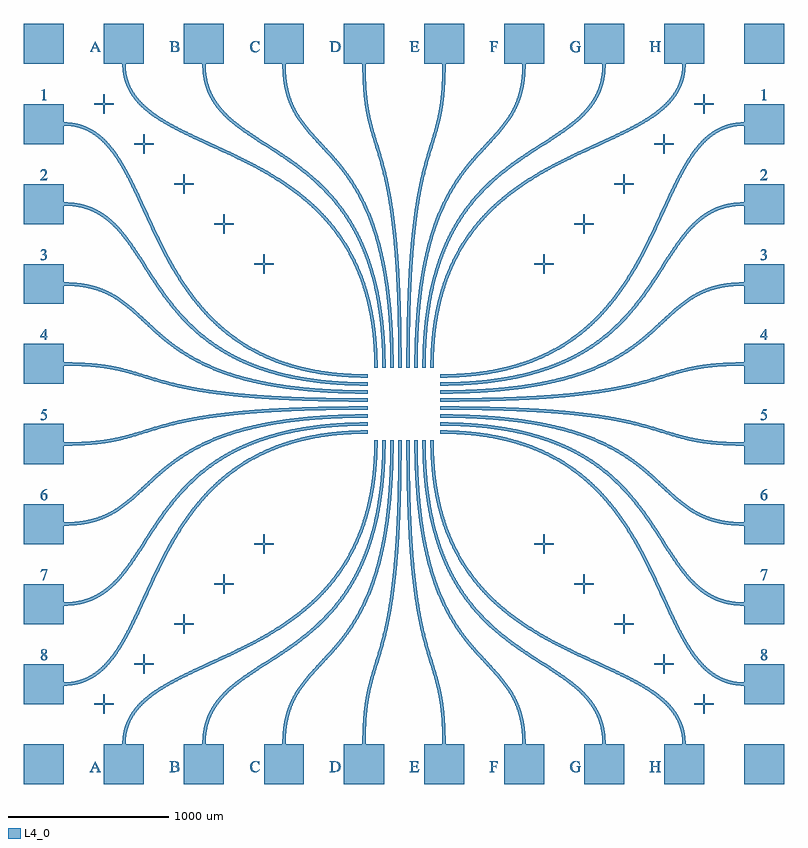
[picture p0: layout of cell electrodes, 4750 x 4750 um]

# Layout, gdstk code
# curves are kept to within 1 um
from math import pi, radians
import gdstk
lib = gdstk.Library(unit=1e-6, precision=1e-09)
def R(c, l, rs):  # rectangles x0, y0, x1, y1
    for r in rs: c.add(gdstk.rectangle(r[:2], r[2:], *l))
def P(c, l, *ps):  # polygons
    for p in ps: c.add(gdstk.Polygon(p, *l))
L4_0 = (4, 0)

bondpad250um = lib.new_cell('bondPad250um')
R(bondpad250um, L4_0, [(0,0,250,250)])

electrodesegment = lib.new_cell('electrodeSegment')
P(electrodesegment, L4_0, [(615,250),(617.627,295.421),(625.345,337.976),(637.905,377.865),(655.062,415.288),(678.55,453.278),(706.554,488.551),(741.519,524.09),(781.169,557.529),(815.357,582.546),(855.458,608.783),(946.262,660.245),(1042.104,707.835),(1269.985,813.237),(1370.982,862.013),(1481.046,919.876),(1571.614,973.075),(1620.655,1004.703),(1668.911,1038.219),(1711.941,1070.463),(1754.026,1104.525),(1795.027,1140.527),(1830.884,1174.688),(1869.436,1214.712),(1902.862,1252.692),(1934.976,1292.619),(1965.677,1334.583),(1994.862,1378.674),(2022.429,1424.98),(2048.275,1473.59),(2069.721,1518.805),(2092.037,1572.012),(2110.184,1621.454),(2128.604,1679.574),(2144.815,1740.425),(2158.712,1804.096),(2170.195,1870.676),(2179.161,1940.253),(2184.934,2004.689),(2188.865,2080.173),(2190,2150),(2210,2150),(2208.852,2079.474),(2205.457,2011.525),(2199.888,1946.09),(2192.215,1883.107),(2182.512,1822.514),(2169.26,1757.126),(2155.482,1701.405),(2137.829,1641.342),(2117.995,1583.968),(2096.082,1529.198),(2072.195,1476.941),(2046.434,1427.109),(2018.905,1379.615),(1986.366,1329.477),(1955.439,1286.626),(1919.38,1241.429),(1885.513,1202.827),(1846.443,1162.132),(1810.095,1127.385),(1768.523,1090.755),(1725.839,1056.088),(1682.185,1023.263),(1633.212,989.138),(1583.422,956.934),(1491.418,902.776),(1380.214,844.271),(1279.427,795.607),(1052.038,690.477),(956.42,643.017),(869.492,593.946),(833.515,570.748),(799.912,546.717),(763.515,517.02),(733.359,488.141),(706.757,457.636),(684.143,425.599),(662.854,385.768),(647.315,342.839),(637.91,296.461),(635,250)],
  [(1115,250),(1116.859,295.034),(1122.318,337.219),(1131.202,376.762),(1144.488,416.857),(1161.364,454.356),(1181.607,489.523),(1204.995,522.619),(1233.441,556.248),(1284.317,605.65),(1351.73,659.339),(1420.223,706.957),(1583.07,812.418),(1655.244,861.218),(1733.831,919.064),(1798.477,972.25),(1867.931,1037.402),(1928.695,1103.736),(1983.567,1173.94),(2034.959,1251.998),(2079.81,1333.953),(2120.334,1424.423),(2154.104,1518.325),(2181.443,1614.76),(2194.769,1672.629),(2206.524,1733.22),(2216.636,1796.623),(2225.032,1862.925),(2231.638,1932.217),(2236.382,2004.587),(2240,2150),(2260,2150),(2256.755,2011.621),(2247.295,1883.296),(2230.895,1757.411),(2208.44,1641.717),(2194.269,1584.39),(2178.614,1529.663),(2161.546,1477.449),(2143.141,1427.658),(2123.471,1380.202),(2100.222,1330.103),(2078.123,1287.286),(2052.357,1242.122),(2000.237,1162.88),(1944.555,1091.544),(1882.851,1024.079),(1812.264,957.759),(1746.5,903.588),(1667.039,845.066),(1595.081,796.426),(1432.736,691.355),(1364.471,643.923),(1302.441,594.904),(1253.024,547.971),(1229.045,520.777),(1207.386,492.184),(1188.22,461.978),(1172.988,432.689),(1156.064,389.977),(1144.544,346.891),(1137.432,300.345),(1135,250)],
  [(1615,250),(1616.112,294.794),(1619.377,336.746),(1624.692,376.064),(1632.64,415.929),(1641.887,450.433),(1653.849,485.575),(1668.845,521.116),(1685.869,554.591),(1716.321,603.82),(1756.772,657.511),(1801.452,709.101),(1938.963,859.496),(1982.229,912.331),(2021.093,965.047),(2062.906,1029.594),(2099.542,1095.295),(2134.37,1168.692),(2163.77,1242.135),(2189.515,1318.589),(2212.996,1402.541),(2232.761,1488.941),(2250.01,1583.015),(2267.658,1712.158),(2279.985,1847.561),(2287.568,1996.206),(2290,2150),(2310,2150),(2308.054,2011.786),(2301.909,1875.934),(2291.852,1750.829),(2278.183,1635.874),(2260.099,1524.556),(2238.65,1423.237),(2212.746,1326.353),(2182.306,1234.635),(2152.52,1160.3),(2117.213,1085.934),(2080.045,1019.291),(2037.589,953.74),(1998.087,900.144),(1954.407,846.789),(1817.441,697.086),(1776.232,649.742),(1738.636,600.87),(1708.549,554.078),(1691.591,522.328),(1676.531,488.642),(1663.535,452.685),(1652.767,414.12),(1644.908,375.681),(1639.598,337.712),(1636.078,293.634),(1635,250)],
  [(2115,250),(2116.44,335.841),(2121.032,417.028),(2128.434,488.021),(2139.14,555.529),(2149.262,603.761),(2162.846,657.229),(2222.569,855.728),(2248.762,956.181),(2273.898,1078.725),(2294.59,1214.485),(2304.936,1302.518),(2314.255,1400.792),(2328.561,1619.22),(2337.162,1869.563),(2340,2150),(2360,2150),(2357.149,1868.85),(2348.505,1617.749),(2334.124,1398.521),(2324.752,1299.826),(2314.345,1211.375),(2293.521,1074.865),(2268.205,951.497),(2241.888,850.556),(2182.587,654.035),(2169.084,601.111),(2158.173,548.815),(2147.711,481.318),(2140.549,410.164),(2136.434,335.338),(2135,250)],
  [(495,440),(495,495),(440,495),(440,505),(495,505),(495,560),(505,560),(505,505),(560,505),(560,495),(505,495),(505,440)],
  [(745,690),(745,745),(690,745),(690,755),(745,755),(745,810),(755,810),(755,755),(810,755),(810,745),(755,745),(755,690)],
  [(995,940),(995,995),(940,995),(940,1005),(995,1005),(995,1060),(1005,1060),(1005,1005),(1060,1005),(1060,995),(1005,995),(1005,940)],
  [(1245,1190),(1245,1245),(1190,1245),(1190,1255),(1245,1255),(1245,1310),(1255,1310),(1255,1255),(1310,1255),(1310,1245),(1255,1245),(1255,1190)],
  [(1495,1440),(1495,1495),(1440,1495),(1440,1505),(1495,1505),(1495,1560),(1505,1560),(1505,1505),(1560,1505),(1560,1495),(1505,1495),(1505,1440)])
r = gdstk.Reference(bondpad250um, (0,0)); r.repetition = gdstk.Repetition(5, 1, v1=(500,0), v2=(0,1)); electrodesegment.add(r)

electrodehalf = lib.new_cell('electrodeHalf')
electrodehalf.add(gdstk.Reference(electrodesegment, (0,0)))
electrodehalf.add(gdstk.Reference(electrodesegment, (4750,0), rotation=pi, x_reflection=True))
electrodehalf.add(gdstk.Reference(electrodesegment, (0,0), rotation=pi/2, x_reflection=True))
electrodehalf.add(gdstk.Reference(electrodesegment, (4750,0), rotation=pi/2))

electrodes = lib.new_cell('electrodes')
P(electrodes, L4_0, [(410.781,75),(410.781,76.813),(415.596,78.295),(418.096,81.156),(427.037,100.781),(454.391,100.781),(443.156,127.547),(431.625,100.781),(427.037,100.781),(444.969,142.719),(446.672,142.719),(471.407,83.946),(474.773,79.023),(481.094,76.813),(481.094,75),(454.969,75),(454.969,76.813),(459.925,77.858),(461.698,80.66),(460.604,85.482),(455.75,97.172),(430.125,97.172),(424.9,84.911),(423.974,80.765),(426.063,77.897),(431.625,76.813),(431.625,75)],
  [(911.656,75),(911.656,76.813),(916.517,77.069),(919.261,78.469),(942.87,78.484),(950.401,79.727),(954.359,81.735),(957.296,84.551),(959.254,88.151),(959.906,92.281),(957.532,100.143),(952.111,104.783),(943.396,107.174),(930.609,106.938),(930.609,79.781),(941.781,78.469),(919.261,78.469),(920.602,80.537),(921.164,84.178),(921.234,110.75),(942.381,110.804),(950.093,112.096),(953.371,113.937),(956.047,116.992),(957.685,121.19),(957.879,125.348),(955.29,131.678),(949.449,136.171),(940.51,137.921),(930.609,136.859),(930.609,111.422),(939.828,110.75),(921.234,110.75),(920.562,135.802),(917.445,138.867),(911.656,139.406),(911.656,141.219),(948.278,140.848),(955.735,139.29),(962.15,135.878),(967.191,129.008),(967.86,120.526),(966.451,116.658),(963.887,113.22),(956.188,108.797),(965.095,105.255),(970.051,99.109),(971.039,90.674),(967.292,82.581),(961.499,77.943),(953.675,75.658)],
  [(1445.844,73.484),(1438.081,74.247),(1430.457,76.928),(1424.007,81.54),(1419.153,87.421),(1415.514,94.917),(1413.847,102.579),(1413.887,111.938),(1415.71,119.953),(1418.623,126.319),(1422.584,131.842),(1427.486,136.314),(1434.274,140.152),(1441.682,142.273),(1449.103,142.664),(1455.322,141.606),(1464.717,138.155),(1466.993,139.407),(1468.5,142.719),(1470.203,142.719),(1471.719,120.219),(1470.203,120.219),(1467.057,127.979),(1462.254,134.189),(1457.039,137.47),(1450.023,139.134),(1442.566,138.563),(1435.515,135.426),(1430.403,130.126),(1427.083,123.309),(1424.857,110.943),(1425.471,98.598),(1428.816,89.042),(1434.897,82.224),(1444.164,78.276),(1454.855,78.309),(1463.409,82.258),(1471.719,91.5),(1473.234,90.531),(1467.836,82.873),(1461.609,77.586),(1454.348,74.51)],
  [(1911.703,75),(1911.703,76.813),(1916.151,76.98),(1919.234,78.422),(1943.772,78.546),(1954.209,81.85),(1959.805,86.383),(1964.061,92.523),(1966.398,99.264),(1967.281,107.953),(1966.69,115.218),(1964.645,122.208),(1961.557,127.526),(1956.852,132.281),(1951.268,135.523),(1944.855,137.222),(1938.338,137.411),(1930.609,136.078),(1930.609,79.781),(1941,78.422),(1919.234,78.422),(1920.628,80.555),(1921.218,85.379),(1921.041,133.49),(1919.08,137.983),(1916.367,139.196),(1911.703,139.406),(1911.703,141.219),(1951.725,140.375),(1961.723,137.628),(1969.367,132.255),(1976.18,121.459),(1977.946,114.651),(1978.398,107.593),(1975.751,94.34),(1968.799,84.105),(1960.731,78.652),(1950.328,75.647)],
  [(2412.047,75),(2412.047,76.813),(2417.229,77.252),(2420.406,79.219),(2421.531,86.672),(2421.211,134.777),(2419.511,138.117),(2416.729,139.216),(2412.047,139.406),(2412.047,141.219),(2463.078,141.219),(2463.813,126.703),(2461.906,126.703),(2459.633,133.891),(2455.697,136.948),(2430.906,137.594),(2430.906,111.422),(2446.809,111.449),(2451.458,112.234),(2454.607,115.3),(2455.844,121.047),(2457.656,121.047),(2457.656,98),(2455.844,98),(2454.484,104.203),(2451.066,107.112),(2446.455,107.844),(2430.906,107.859),(2431.404,80.455),(2432.936,79.04),(2435.719,78.618),(2455.758,79.391),(2461.397,83.275),(2466.844,91.609),(2468.797,91.609),(2463.078,75)],
  [(2911.609,75),(2911.609,76.813),(2916.717,77.149),(2919.906,79.203),(2921.078,86.719),(2920.727,135.116),(2919.945,137.006),(2917.921,138.509),(2911.609,139.406),(2911.609,141.219),(2960.875,141.219),(2961.516,126.656),(2959.813,126.656),(2957.06,133.188),(2952.384,136.735),(2947.479,137.533),(2930.453,137.594),(2930.453,111.578),(2946.841,112.292),(2949.68,114.9),(2951.156,120.656),(2952.969,120.656),(2952.969,98.25),(2951.156,98.25),(2950.272,103.672),(2947.078,106.828),(2930.453,107.516),(2930.944,80.534),(2934.23,77.472),(2940.031,76.813),(2940.031,75)],
  [(3450.141,73.484),(3441.123,74.254),(3433.258,76.563),(3426.545,80.41),(3420.525,86.376),(3416.433,93.111),(3413.982,101.225),(3413.581,109.254),(3415.157,117.723),(3418.356,125),(3422.789,131.317),(3428.263,136.403),(3434.209,139.923),(3441.51,142.123),(3450.342,142.682),(3467.402,138.545),(3468.922,139.621),(3469.578,142.719),(3471.375,142.719),(3473.094,121.828),(3471.375,121.828),(3467.554,130.086),(3462.759,135.241),(3456.484,138.369),(3449.5,139.313),(3441.524,138.129),(3435.513,134.999),(3430.266,129.297),(3426.495,121.287),(3425.014,114.134),(3424.807,106.843),(3425.909,99.047),(3427.97,92.874),(3430.925,87.416),(3435.185,82.523),(3440.243,79.211),(3446.313,77.167),(3455.54,77.331),(3463.859,80.469),(3463.359,105.435),(3460.758,108.477),(3455.172,109.281),(3455.172,111.141),(3480.797,111.141),(3480.797,109.281),(3476.05,108.475),(3473.84,105.266),(3473.375,79.344),(3462.297,74.898)],
  [(3911.703,75),(3911.703,76.813),(3916.813,77.149),(3920.016,79.203),(3921.188,86.719),(3920.827,135.112),(3918.005,138.509),(3911.703,139.406),(3911.703,141.219),(3940.078,141.219),(3940.078,139.406),(3934.313,138.773),(3931.077,135.703),(3930.563,110.5),(3961.313,110.5),(3960.763,135.924),(3957.571,138.747),(3951.844,139.406),(3951.844,141.219),(3980.172,141.219),(3980.172,139.406),(3975.543,139.125),(3971.934,137.148),(3970.688,129.438),(3971.048,81.097),(3973.87,77.71),(3980.172,76.813),(3980.172,75),(3951.844,75),(3951.844,76.813),(3957.695,77.41),(3960.736,80.608),(3961.313,106.891),(3930.563,106.891),(3931.112,80.293),(3934.313,77.472),(3940.078,76.813),(3940.078,75)],
  [(410.781,4575),(410.781,4576.813),(415.596,4578.295),(418.096,4581.156),(427.037,4600.781),(454.391,4600.781),(443.156,4627.547),(431.625,4600.781),(427.037,4600.781),(444.969,4642.719),(446.672,4642.719),(471.407,4583.946),(474.773,4579.023),(481.094,4576.813),(481.094,4575),(454.969,4575),(454.969,4576.813),(459.925,4577.858),(461.698,4580.66),(460.604,4585.482),(455.75,4597.172),(430.125,4597.172),(424.9,4584.911),(423.974,4580.765),(426.063,4577.897),(431.625,4576.813),(431.625,4575)],
  [(911.656,4575),(911.656,4576.813),(916.517,4577.069),(919.261,4578.469),(942.87,4578.484),(950.401,4579.727),(954.359,4581.735),(957.296,4584.551),(959.254,4588.151),(959.906,4592.281),(957.532,4600.143),(952.111,4604.783),(943.396,4607.174),(930.609,4606.938),(930.609,4579.781),(941.781,4578.469),(919.261,4578.469),(920.602,4580.537),(921.164,4584.178),(921.234,4610.75),(942.381,4610.804),(950.093,4612.096),(953.371,4613.937),(956.047,4616.992),(957.685,4621.19),(957.879,4625.348),(955.29,4631.678),(949.449,4636.171),(940.51,4637.921),(930.609,4636.859),(930.609,4611.422),(939.828,4610.75),(921.234,4610.75),(920.562,4635.802),(917.445,4638.867),(911.656,4639.406),(911.656,4641.219),(948.278,4640.848),(955.735,4639.29),(962.15,4635.878),(967.191,4629.008),(967.86,4620.526),(966.451,4616.658),(963.887,4613.22),(956.188,4608.797),(965.095,4605.255),(970.051,4599.109),(971.039,4590.674),(967.292,4582.581),(961.499,4577.943),(953.675,4575.658)],
  [(1445.844,4573.484),(1438.081,4574.247),(1430.457,4576.928),(1424.007,4581.54),(1419.153,4587.421),(1415.514,4594.917),(1413.847,4602.579),(1413.887,4611.938),(1415.71,4619.953),(1418.623,4626.319),(1422.584,4631.842),(1427.486,4636.314),(1434.274,4640.152),(1441.682,4642.273),(1449.103,4642.664),(1455.322,4641.606),(1464.717,4638.155),(1466.993,4639.407),(1468.5,4642.719),(1470.203,4642.719),(1471.719,4620.219),(1470.203,4620.219),(1467.057,4627.979),(1462.254,4634.189),(1457.039,4637.47),(1450.023,4639.134),(1442.566,4638.563),(1435.515,4635.426),(1430.403,4630.126),(1427.083,4623.309),(1424.857,4610.943),(1425.471,4598.598),(1428.816,4589.042),(1434.897,4582.224),(1444.164,4578.276),(1454.855,4578.309),(1463.409,4582.258),(1471.719,4591.5),(1473.234,4590.531),(1467.836,4582.873),(1461.609,4577.586),(1454.348,4574.51)],
  [(1911.703,4575),(1911.703,4576.813),(1916.151,4576.98),(1919.234,4578.422),(1943.772,4578.546),(1954.209,4581.85),(1959.805,4586.383),(1964.061,4592.523),(1966.398,4599.264),(1967.281,4607.953),(1966.69,4615.218),(1964.645,4622.208),(1961.557,4627.526),(1956.852,4632.281),(1951.268,4635.523),(1944.855,4637.222),(1938.338,4637.411),(1930.609,4636.078),(1930.609,4579.781),(1941,4578.422),(1919.234,4578.422),(1920.628,4580.555),(1921.218,4585.379),(1921.041,4633.49),(1919.08,4637.983),(1916.367,4639.196),(1911.703,4639.406),(1911.703,4641.219),(1951.725,4640.375),(1961.723,4637.628),(1969.367,4632.255),(1976.18,4621.459),(1977.946,4614.651),(1978.398,4607.593),(1975.751,4594.34),(1968.799,4584.105),(1960.731,4578.652),(1950.328,4575.647)],
  [(2412.047,4575),(2412.047,4576.813),(2417.229,4577.252),(2420.406,4579.219),(2421.531,4586.672),(2421.211,4634.777),(2419.511,4638.117),(2416.729,4639.216),(2412.047,4639.406),(2412.047,4641.219),(2463.078,4641.219),(2463.813,4626.703),(2461.906,4626.703),(2459.633,4633.891),(2455.697,4636.948),(2430.906,4637.594),(2430.906,4611.422),(2446.809,4611.449),(2451.458,4612.234),(2454.607,4615.3),(2455.844,4621.047),(2457.656,4621.047),(2457.656,4598),(2455.844,4598),(2454.484,4604.203),(2451.066,4607.112),(2446.455,4607.844),(2430.906,4607.859),(2431.404,4580.455),(2432.936,4579.04),(2435.719,4578.618),(2455.758,4579.391),(2461.397,4583.275),(2466.844,4591.609),(2468.797,4591.609),(2463.078,4575)],
  [(2911.609,4575),(2911.609,4576.813),(2916.717,4577.149),(2919.906,4579.203),(2921.078,4586.719),(2920.727,4635.116),(2919.945,4637.006),(2917.921,4638.509),(2911.609,4639.406),(2911.609,4641.219),(2960.875,4641.219),(2961.516,4626.656),(2959.813,4626.656),(2957.06,4633.188),(2952.384,4636.735),(2947.479,4637.533),(2930.453,4637.594),(2930.453,4611.578),(2946.841,4612.292),(2949.68,4614.9),(2951.156,4620.656),(2952.969,4620.656),(2952.969,4598.25),(2951.156,4598.25),(2950.272,4603.672),(2947.078,4606.828),(2930.453,4607.516),(2930.944,4580.534),(2934.23,4577.472),(2940.031,4576.813),(2940.031,4575)],
  [(3450.141,4573.484),(3441.123,4574.254),(3433.258,4576.563),(3426.545,4580.41),(3420.525,4586.376),(3416.433,4593.111),(3413.982,4601.225),(3413.581,4609.254),(3415.157,4617.723),(3418.356,4625),(3422.789,4631.317),(3428.263,4636.403),(3434.209,4639.923),(3441.51,4642.123),(3450.342,4642.682),(3467.402,4638.545),(3468.922,4639.621),(3469.578,4642.719),(3471.375,4642.719),(3473.094,4621.828),(3471.375,4621.828),(3467.554,4630.086),(3462.759,4635.241),(3456.484,4638.369),(3449.5,4639.313),(3441.524,4638.129),(3435.513,4634.999),(3430.266,4629.297),(3426.495,4621.287),(3425.014,4614.134),(3424.807,4606.843),(3425.909,4599.047),(3427.97,4592.874),(3430.925,4587.416),(3435.185,4582.523),(3440.243,4579.211),(3446.313,4577.167),(3455.54,4577.331),(3463.859,4580.469),(3463.359,4605.435),(3460.758,4608.477),(3455.172,4609.281),(3455.172,4611.141),(3480.797,4611.141),(3480.797,4609.281),(3476.05,4608.475),(3473.84,4605.266),(3473.375,4579.344),(3462.297,4574.898)],
  [(3911.703,4575),(3911.703,4576.813),(3916.813,4577.149),(3920.016,4579.203),(3921.188,4586.719),(3920.827,4635.112),(3918.005,4638.509),(3911.703,4639.406),(3911.703,4641.219),(3940.078,4641.219),(3940.078,4639.406),(3934.313,4638.773),(3931.077,4635.703),(3930.563,4610.5),(3961.313,4610.5),(3960.763,4635.924),(3957.571,4638.747),(3951.844,4639.406),(3951.844,4641.219),(3980.172,4641.219),(3980.172,4639.406),(3975.543,4639.125),(3971.934,4637.148),(3970.688,4629.438),(3971.048,4581.097),(3973.87,4577.71),(3980.172,4576.813),(3980.172,4575),(3951.844,4575),(3951.844,4576.813),(3957.695,4577.41),(3960.736,4580.608),(3961.313,4606.891),(3930.563,4606.891),(3931.112,4580.293),(3934.313,4577.472),(3940.078,4576.813),(3940.078,4575)],
  [(112.891,4275),(112.891,4276.813),(118.761,4277.531),(121.087,4280.418),(121.36,4325.699),(120.965,4331.411),(119.874,4333.788),(117.009,4334.695),(112.453,4333.203),(111.719,4334.719),(127.828,4342.578),(129.438,4342.578),(129.701,4280.688),(131.836,4277.641),(137.797,4276.813),(137.797,4275)],
  [(102.156,3775),(102.156,3776.813),(116.84,3791.092),(126.422,3802.492),(131.469,3811.455),(133.391,3819.141),(133.076,3824.42),(131.629,3828.302),(129.105,3831.546),(125.355,3834.096),(119.754,3835.098),(113.605,3833.501),(108.974,3829.732),(105.859,3823.875),(104.047,3823.875),(106.234,3831.857),(110.328,3837.742),(116.405,3841.516),(123.949,3842.558),(131.168,3840.942),(136.731,3837.081),(140.611,3831.386),(141.797,3825.203),(140.689,3818.285),(137.367,3811.129),(132.363,3803.826),(112.547,3782.375),(137.234,3782.766),(141.07,3784.352),(144.047,3787.75),(145.844,3787.75),(141.219,3775)],
  [(115.578,3273.828),(109.404,3274.355),(105.901,3275.912),(104.056,3278.811),(105.49,3281.8),(109.508,3282.472),(118.266,3278.609),(124.529,3278.319),(130.315,3281.47),(133.95,3287.311),(134.043,3294.871),(130.359,3302.358),(122.842,3306.812),(115.188,3307.859),(115.188,3309.328),(121.959,3311.563),(127.559,3316.073),(129.889,3321.004),(130.131,3327.098),(128.84,3330.709),(126.78,3333.212),(123.646,3335.162),(119.924,3335.925),(113.599,3334.599),(110.105,3332.105),(106.688,3327.828),(105.078,3328.609),(109.196,3335.779),(113.922,3340.175),(119.907,3342.351),(126.302,3342.331),(133.479,3339.164),(137.969,3332.375),(138.386,3328.25),(137.145,3323.662),(134.131,3318.98),(129.344,3314.203),(135.273,3310.866),(139.311,3306.241),(141.398,3300.528),(141.441,3293.272),(138.627,3285.323),(132.811,3278.835),(125.515,3275.182)],
  [(129.594,2775),(129.594,2792.484),(101.563,2792.484),(101.563,2798.734),(102.044,2799.422),(129.594,2799.422),(129.594,2832.281),(106.344,2799.422),(102.044,2799.422),(132.281,2842.578),(137.641,2842.578),(137.641,2799.422),(146.531,2799.422),(146.531,2792.484),(137.641,2792.484),(137.641,2775)],
  [(116.156,2273.828),(110.485,2274.468),(107.164,2276.106),(104.877,2279.423),(105.643,2282.474),(107.538,2283.649),(110.208,2283.644),(116.506,2280.056),(120.689,2278.899),(127.616,2280.226),(131.664,2283.18),(134.617,2287.32),(135.917,2292.182),(135.607,2297.375),(132.125,2304.906),(126.159,2310.482),(117.779,2314.133),(106.984,2315.484),(119.672,2341.219),(143.406,2341.219),(139.594,2332.906),(119.672,2332.906),(115.328,2324.031),(126.279,2320.967),(134.876,2315.348),(140.276,2308.147),(142.322,2299.34),(140.707,2290.241),(134.867,2281.547),(126.28,2275.886)],
  [(125.094,1773.828),(120.296,1774.461),(115.774,1776.563),(128.584,1776.813),(131.931,1778.457),(134.893,1781.626),(136.983,1786.914),(137.44,1793.034),(136.623,1799.783),(134.535,1805.674),(130.975,1810.396),(126.187,1812.452),(121.261,1811.949),(114.453,1808.406),(113.639,1795.964),(115.772,1786.233),(120.453,1778.859),(123.219,1777.137),(126.516,1776.563),(115.774,1776.563),(109.092,1783.652),(105.394,1792.026),(104.311,1802.09),(105.981,1812.778),(108.317,1818.861),(112.186,1825.424),(122.12,1835.559),(132.212,1840.933),(138.648,1842.368),(144.828,1842.578),(144.828,1840.766),(134.816,1838.447),(126.242,1832.328),(119.988,1824.12),(115.736,1813.612),(115.281,1811.969),(120.561,1814.911),(126.738,1816.627),(134.613,1815.894),(138.221,1813.972),(141.767,1810.632),(145.553,1802.805),(145.649,1792.222),(141.719,1782.986),(138.276,1778.892),(134.579,1776.17),(130.391,1774.484)],
  [(118.016,1273.625),(137.797,1333.25),(113.493,1332.63),(108.873,1329.907),(105.125,1325),(103.719,1325.531),(110.063,1341.219),(145.563,1341.219),(145.563,1339.359),(123.484,1273.625)],
  [(124.953,773.828),(118.965,774.526),(114.208,776.469),(127.018,776.515),(130.998,777.411),(135.571,781.013),(137.347,786.146),(137.003,789.607),(135.5,792.969),(126.315,802.52),(121.484,806.5),(120.505,805.635),(115.484,799.047),(113.539,790.911),(114.189,785.3),(116.552,780.732),(120.338,777.665),(125.734,776.469),(114.208,776.469),(113.149,777.15),(108.042,782.78),(106.063,790.094),(106.997,795.011),(109.401,799.348),(119.188,808.344),(113.305,813.578),(126.859,813.578),(132.505,819.297),(134.965,823.476),(135.742,830.656),(133.637,836.083),(129.053,839.194),(122.725,839.57),(118.678,838.128),(115.633,835.365),(114.07,831.994),(114.056,828.225),(115.164,825.055),(117.717,821.382),(126.859,813.578),(113.305,813.578),(108.522,819.684),(107.101,823.702),(106.801,827.61),(107.604,831.75),(109.585,835.471),(112.401,838.479),(115.963,840.756),(125,842.578),(130.571,841.967),(135.612,839.927),(139.558,836.563),(142.095,832.329),(142.688,826.929),(140.46,821.232),(136.074,816.551),(129.156,811.672),(140.531,801.219),(143.309,796.102),(144.234,790.719),(142.733,783.871),(138.578,778.477),(132.764,775.066)],
  [(4612.891,4275),(4612.891,4276.813),(4618.761,4277.531),(4621.087,4280.418),(4621.36,4325.699),(4620.965,4331.411),(4619.874,4333.788),(4617.009,4334.695),(4612.453,4333.203),(4611.719,4334.719),(4627.828,4342.578),(4629.438,4342.578),(4629.701,4280.688),(4631.836,4277.641),(4637.797,4276.813),(4637.797,4275)],
  [(4602.156,3775),(4602.156,3776.813),(4616.84,3791.092),(4626.422,3802.492),(4631.469,3811.455),(4633.391,3819.141),(4633.076,3824.42),(4631.629,3828.302),(4629.105,3831.546),(4625.355,3834.096),(4619.754,3835.098),(4613.605,3833.501),(4608.974,3829.732),(4605.859,3823.875),(4604.047,3823.875),(4606.234,3831.857),(4610.328,3837.742),(4616.405,3841.516),(4623.949,3842.558),(4631.168,3840.942),(4636.731,3837.081),(4640.611,3831.386),(4641.797,3825.203),(4640.689,3818.285),(4637.367,3811.129),(4632.363,3803.826),(4612.547,3782.375),(4637.234,3782.766),(4641.07,3784.352),(4644.047,3787.75),(4645.844,3787.75),(4641.219,3775)],
  [(4615.578,3273.828),(4609.404,3274.355),(4605.901,3275.912),(4604.056,3278.811),(4605.49,3281.8),(4609.508,3282.472),(4618.266,3278.609),(4624.529,3278.319),(4630.315,3281.47),(4633.95,3287.311),(4634.043,3294.871),(4630.359,3302.358),(4622.842,3306.812),(4615.188,3307.859),(4615.188,3309.328),(4621.959,3311.563),(4627.559,3316.073),(4629.889,3321.004),(4630.131,3327.098),(4628.84,3330.709),(4626.78,3333.212),(4623.646,3335.162),(4619.924,3335.925),(4613.599,3334.599),(4610.105,3332.105),(4606.688,3327.828),(4605.078,3328.609),(4609.196,3335.779),(4613.922,3340.175),(4619.907,3342.351),(4626.302,3342.331),(4633.479,3339.164),(4637.969,3332.375),(4638.386,3328.25),(4637.145,3323.662),(4634.131,3318.98),(4629.344,3314.203),(4635.273,3310.866),(4639.311,3306.241),(4641.398,3300.528),(4641.441,3293.272),(4638.627,3285.323),(4632.811,3278.835),(4625.515,3275.182)],
  [(4629.594,2775),(4629.594,2792.484),(4601.563,2792.484),(4601.563,2798.734),(4602.044,2799.422),(4629.594,2799.422),(4629.594,2832.281),(4606.344,2799.422),(4602.044,2799.422),(4632.281,2842.578),(4637.641,2842.578),(4637.641,2799.422),(4646.531,2799.422),(4646.531,2792.484),(4637.641,2792.484),(4637.641,2775)],
  [(4616.156,2273.828),(4610.485,2274.468),(4607.164,2276.106),(4604.877,2279.423),(4605.643,2282.474),(4607.538,2283.649),(4610.208,2283.644),(4616.506,2280.056),(4620.689,2278.899),(4627.616,2280.226),(4631.664,2283.18),(4634.617,2287.32),(4635.917,2292.182),(4635.607,2297.375),(4632.125,2304.906),(4626.159,2310.482),(4617.779,2314.133),(4606.984,2315.484),(4619.672,2341.219),(4643.406,2341.219),(4639.594,2332.906),(4619.672,2332.906),(4615.328,2324.031),(4626.279,2320.967),(4634.876,2315.348),(4640.276,2308.147),(4642.322,2299.34),(4640.707,2290.241),(4634.867,2281.547),(4626.28,2275.886)],
  [(4625.094,1773.828),(4620.296,1774.461),(4615.774,1776.563),(4628.584,1776.813),(4631.931,1778.457),(4634.893,1781.626),(4636.983,1786.914),(4637.44,1793.034),(4636.623,1799.783),(4634.535,1805.674),(4630.975,1810.396),(4626.187,1812.452),(4621.261,1811.949),(4614.453,1808.406),(4613.639,1795.964),(4615.772,1786.233),(4620.453,1778.859),(4623.219,1777.137),(4626.516,1776.563),(4615.774,1776.563),(4609.092,1783.652),(4605.394,1792.026),(4604.311,1802.09),(4605.981,1812.778),(4608.317,1818.861),(4612.186,1825.424),(4622.12,1835.559),(4632.212,1840.933),(4638.648,1842.368),(4644.828,1842.578),(4644.828,1840.766),(4634.816,1838.447),(4626.242,1832.328),(4619.988,1824.12),(4615.736,1813.612),(4615.281,1811.969),(4620.561,1814.911),(4626.738,1816.627),(4634.613,1815.894),(4638.221,1813.972),(4641.767,1810.632),(4645.553,1802.805),(4645.649,1792.222),(4641.719,1782.986),(4638.276,1778.892),(4634.579,1776.17),(4630.391,1774.484)],
  [(4618.016,1273.625),(4637.797,1333.25),(4613.493,1332.63),(4608.873,1329.907),(4605.125,1325),(4603.719,1325.531),(4610.063,1341.219),(4645.563,1341.219),(4645.563,1339.359),(4623.484,1273.625)],
  [(4624.953,773.828),(4618.965,774.526),(4614.208,776.469),(4627.018,776.515),(4630.998,777.411),(4635.571,781.013),(4637.347,786.146),(4637.003,789.607),(4635.5,792.969),(4626.315,802.52),(4621.484,806.5),(4620.505,805.635),(4615.484,799.047),(4613.539,790.911),(4614.189,785.3),(4616.552,780.732),(4620.338,777.665),(4625.734,776.469),(4614.208,776.469),(4613.149,777.15),(4608.042,782.78),(4606.063,790.094),(4606.997,795.011),(4609.401,799.348),(4619.188,808.344),(4613.305,813.578),(4626.859,813.578),(4632.505,819.297),(4634.965,823.476),(4635.742,830.656),(4633.637,836.083),(4629.053,839.194),(4622.725,839.57),(4618.678,838.128),(4615.633,835.365),(4614.07,831.994),(4614.056,828.225),(4615.164,825.055),(4617.717,821.382),(4626.859,813.578),(4613.305,813.578),(4608.522,819.684),(4607.101,823.702),(4606.801,827.61),(4607.604,831.75),(4609.585,835.471),(4612.401,838.479),(4615.963,840.756),(4625,842.578),(4630.571,841.967),(4635.612,839.927),(4639.558,836.563),(4642.095,832.329),(4642.688,826.929),(4640.46,821.232),(4636.074,816.551),(4629.156,811.672),(4640.531,801.219),(4643.309,796.102),(4644.234,790.719),(4642.733,783.871),(4638.578,778.477),(4632.764,775.066)])
electrodes.add(gdstk.Reference(electrodehalf, (0,0)))
electrodes.add(gdstk.Reference(electrodehalf, (0,4750), x_reflection=True))

lib.write_gds('electrodes.gds')
